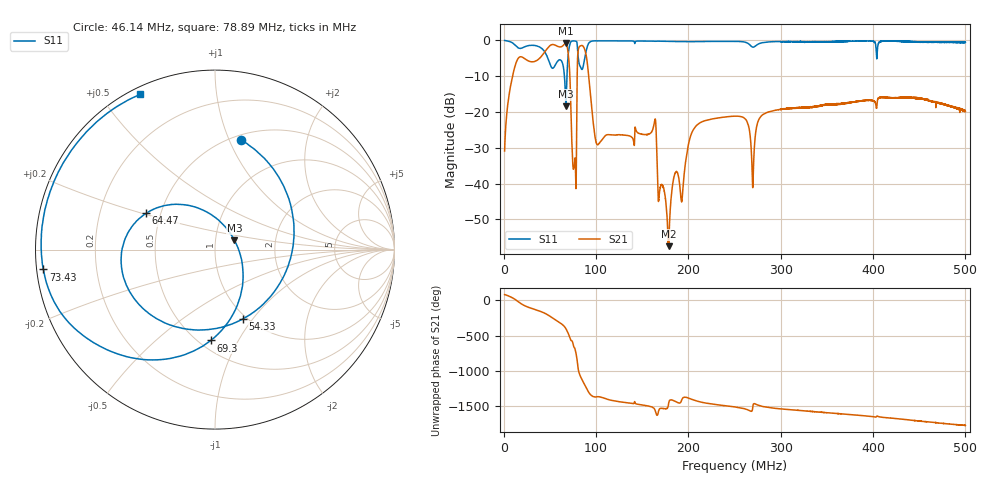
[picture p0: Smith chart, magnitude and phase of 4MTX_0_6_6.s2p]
! NanoVNA-App
! Date: 2026-08-18 21:15:42
! Start: 1MHz Stop: 500MHz Points: 6401
! S-Parameter data: F S11 S21 S12 S22
# Hz S RI R 50
!  Frequency  S11_Real  S11_Imag  S21_Real  S21_Imag  S12_Real  S12_Imag  S22_Real  S22_Imag
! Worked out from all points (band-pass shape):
!   6401 points, 1 MHz to 500 MHz, reference 50 ohm
!   highest |S21| = -0.90 dB at 67.12 MHz (marker M1); lowest = -57.5 dB at 178.5 MHz (marker M2)
!   |S21| within 3 dB of the highest: 42.84 MHz to 69.93 MHz (27.08 MHz wide, 48 % of centre); 80.26 MHz to 89.08 MHz (8.821 MHz wide, 10.4 % of centre)
!   lowest |S11| = -18.4 dB at 67.43 MHz (marker M3), VSWR 1.27, Z = 61.8 + j6.47 ohm
!   |S11| at or under -10 dB: 65.77 MHz to 68.53 MHz (2.767 MHz wide, 4.12 % of centre)
!   S12 and S22 are empty: the file has one direction only
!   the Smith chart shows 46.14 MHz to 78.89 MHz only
!   S11 on the Smith chart (normalised r, x): 46.14 MHz: 0.55, +1.11; 54.33 MHz: 0.96, -0.90; 64.47 MHz: 0.42, +0.21; 69.3 MHz: 0.57, -0.78; 73.43 MHz: 0.02, -0.06; 78.89 MHz: 0.03, +0.63
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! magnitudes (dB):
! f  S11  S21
! 1 MHz  -0.1  -30.9
! 14.49 MHz  -1.9  -5.6
! 46.14 MHz  -4.0  -2.7
! 54.33 MHz  -7.6  -1.3
! 64.47 MHz  -7.3  -1.5
! 67.12 MHz  -17.3  -0.9
! 67.43 MHz  -18.4  -0.9
! 69.3 MHz  -5.9  -2.6
! 73.43 MHz  -0.3  -25.5
! 76.4 MHz  -0.2  -35.3
! 78.89 MHz  -0.4  -28.9
! 84.19 MHz  -8.1  -1.5
! 101.1 MHz  -0.2  -29.1
! 162.7 MHz  -0.3  -23.6
! 167.4 MHz  -0.3  -44.4
! 178.5 MHz  -0.3  -57.5
! 206.1 MHz  -0.4  -24.7
! 250.5 MHz  -0.4  -21.2
! 269.8 MHz  -2.0  -41.2
! 333.7 MHz  -0.5  -18.8
! 416.9 MHz  -0.3  -16.0
! 500 MHz  -0.6  -19.9
